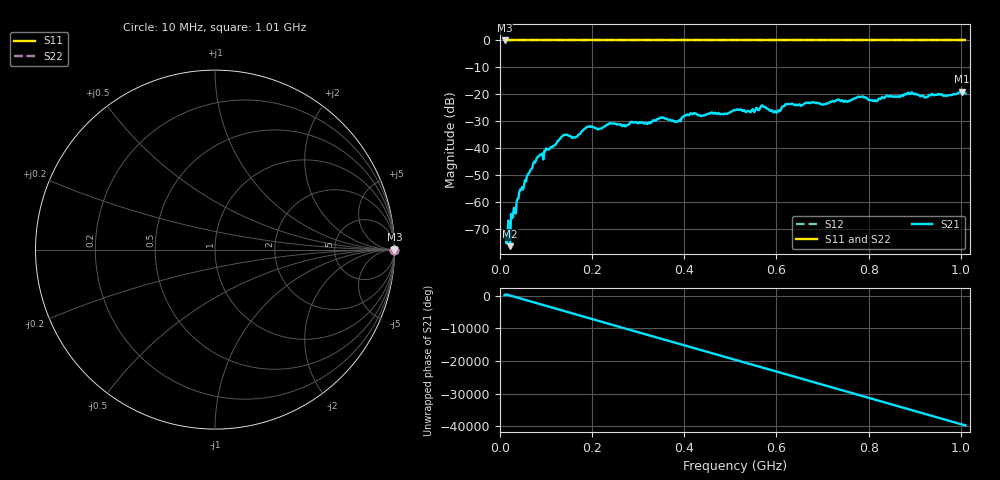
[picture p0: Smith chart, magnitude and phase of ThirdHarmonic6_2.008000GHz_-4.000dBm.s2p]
! 8/17/2025 12:06:51 AM
! C:\ANRITSUVNA\TEMP\TEMP.S2P
! CHANNEL.1
! TR.MEASUREMENT
! RAW.DATA
! RF.CORRECTION.OFF
! AVERAGING.OFF
! IF.BANDWIDTH: 5KHZ
! SWEEPTYPE:  FREQ.SWEEP(Linear)
! Reference Plane Port Info
! PORT:  PORT1  PORT2
! DISTANCE:  0  m  0  m
! TIME:  0  s  0  s
! PHASE.OFFSET:  0  deg.  0  deg.
! LOSS:  0  dB  0  dB
! REF.LOSS:  0  dB  0  dB
! REF.FREQ:  0  Hz  0  Hz
! Power Info
! POWER:  -20  dBm  -20  dBm
! EFF.POWER:  -20  dBm  -20  dBm
! SOURCE.ATTEN:  0  dB  0  dB
! TEST.ATTEN:  0  dB  0  dB
# GHZ S RI R 50.0
! FREQ.GHZ  S11RE  S11IM  S21RE  S21IM  S12RE  S12IM  S22RE  S22IM
!; PortSelection: Port_12
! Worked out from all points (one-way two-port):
!   501 points, 10 MHz to 1.01 GHz, reference 50 ohm
!   highest |S21| = -19.10 dB at 1.002 GHz (marker M1); lowest = -76.5 dB at 22 MHz (marker M2)
!   lowest |S11| = 0.0 dB at 10 MHz (marker M3)
!   |S11| at or under -10 dB: nowhere
!   |S22| runs from 0.0 to 0.0 dB; largest |S21 - S12| = 1.1
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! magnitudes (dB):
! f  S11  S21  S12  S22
! 10 MHz  0.0  -72.0  0.0  0.0
! 18 MHz  0.0  -67.0  0.0  0.0
! 22 MHz  0.0  -76.5  0.0  0.0
! 24 MHz  0.0  -64.5  0.0  0.0
! 28 MHz  0.0  -65.8  0.0  0.0
! 44 MHz  0.0  -55.4  0.0  0.0
! 84 MHz  0.0  -43.0  0.0  0.0
! 136 MHz  0.0  -35.5  0.0  0.0
! 162 MHz  0.0  -36.2  0.0  0.0
! 178 MHz  0.0  -33.7  0.0  0.0
! 192 MHz  0.0  -32.2  0.0  0.0
! 344 MHz  0.0  -29.2  0.0  0.0
! 382 MHz  0.0  -30.1  0.0  0.0
! 418 MHz  0.0  -27.4  0.0  0.0
! 510 MHz  0.0  -25.9  0.0  0.0
! 570 MHz  0.0  -24.2  0.0  0.0
! 598 MHz  0.0  -26.4  0.0  0.0
! 624 MHz  0.0  -23.6  0.0  0.0
! 678 MHz  0.0  -23.0  0.0  0.0
! 844 MHz  0.0  -20.9  0.0  0.0
! 1.002 GHz  0.0  -19.1  0.0  0.0
! 1.01 GHz  0.0  -19.6  0.0  0.0
